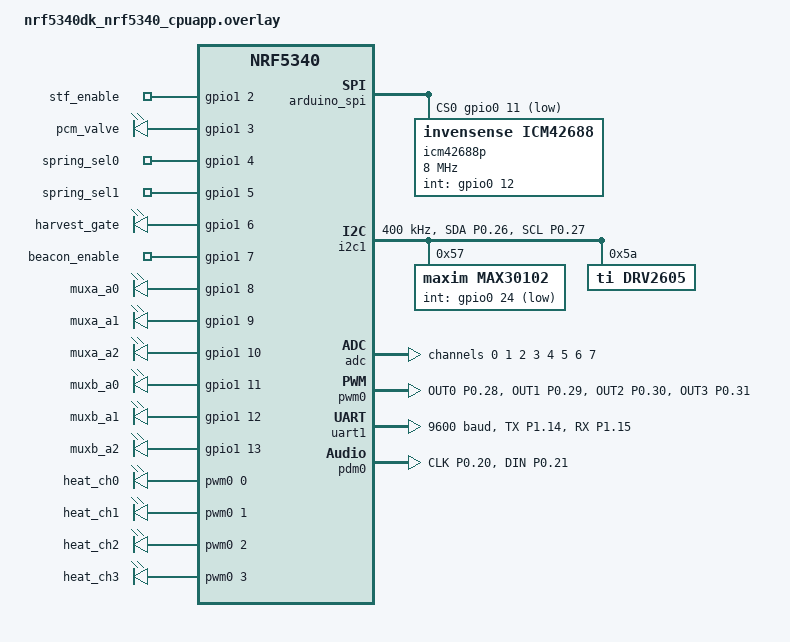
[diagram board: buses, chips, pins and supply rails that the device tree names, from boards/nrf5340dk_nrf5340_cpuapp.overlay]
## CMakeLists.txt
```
cmake_minimum_required(VERSION 3.20.0)
find_package(Zephyr REQUIRED HINTS $ENV{ZEPHYR_BASE})
project(omni_fw VERSION 1 0 0)

target_sources(app PRIVATE
    src/main.c
    src/omni_service.c
    src/mux.c
    src/imu.c
    src/pressure.c
    src/heating.c
    src/spring.c
    src/harvest.c
    src/battery.c
    src/stf.c
    src/pcm.c
    src/emg.c
    src/biometric.c
    src/haptic.c
    src/gps.c
    src/mic.c
)

target_include_directories(app PRIVATE src)
```

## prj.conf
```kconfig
# ── Stack / heap ──────────────────────────────────────────────────────────────
CONFIG_MAIN_STACK_SIZE=8192
CONFIG_SYSTEM_WORKQUEUE_STACK_SIZE=4096
CONFIG_HEAP_MEM_POOL_SIZE=32768

# ── Console / logging ─────────────────────────────────────────────────────────
CONFIG_PRINTK=y
CONFIG_SERIAL=y
CONFIG_CONSOLE=y
CONFIG_UART_CONSOLE=y
CONFIG_LOG=y
CONFIG_LOG_MODE_DEFERRED=y
CONFIG_LOG_BUFFER_SIZE=8192
CONFIG_CBPRINTF_FP_SUPPORT=y

# ── Bluetooth ─────────────────────────────────────────────────────────────────
CONFIG_BT=y
CONFIG_BT_PERIPHERAL=y
CONFIG_BT_MAX_CONN=1
CONFIG_BT_DEVICE_NAME="OMNI_V1"
CONFIG_BT_DEVICE_APPEARANCE=962
CONFIG_BT_SMP=y
CONFIG_BT_GATT_DYNAMIC_DB=n
CONFIG_BT_ATT_PREPARE_COUNT=2
CONFIG_BT_L2CAP_TX_MTU=247
CONFIG_BT_BUF_ACL_RX_SIZE=251
CONFIG_BT_CTLR_DATA_LENGTH_MAX=251
CONFIG_BT_GATT_CLIENT=n
CONFIG_BT_GATT_AUTO_SEC_REQ=n

# ── Drivers ───────────────────────────────────────────────────────────────────
CONFIG_SPI=y
CONFIG_I2C=y
CONFIG_GPIO=y
CONFIG_ADC=y
CONFIG_PWM=y
CONFIG_UART_ASYNC_API=y
CONFIG_SENSOR=y
CONFIG_ICM42688=y

# ── Haptics ───────────────────────────────────────────────────────────────────
CONFIG_HAPTICS=y
CONFIG_DRV2605=y

# ── PDM microphone ────────────────────────────────────────────────────────────
CONFIG_AUDIO_DMIC=y
CONFIG_AUDIO_DMIC_NRFX_PDM=y

# ── Floating point (atof for NMEA) ────────────────────────────────────────────
CONFIG_FPU=y
CONFIG_FPU_SHARING=y

# ── OTA DFU via MCUboot ───────────────────────────────────────────────────────
CONFIG_BOOTLOADER_MCUBOOT=y
CONFIG_MCUMGR=y
CONFIG_MCUMGR_TRANSPORT_BT=y
CONFIG_IMG_MANAGER=y
CONFIG_FLASH=y
CONFIG_FLASH_MAP=y
CONFIG_STREAM_FLASH=y
CONFIG_NCS_SAMPLE_MCUMGR_BT_OTA_DFU=y
```

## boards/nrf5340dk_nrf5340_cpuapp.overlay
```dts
/ {
    chosen {
        zephyr,console    = &uart0;
        zephyr,shell-uart = &uart0;
    };

    omni_outputs {
        compatible = "gpio-leds";

        stf_enable:    stf_enable    { gpios = <&gpio1 2  GPIO_ACTIVE_HIGH>; };
        pcm_valve:     pcm_valve     { gpios = <&gpio1 3  GPIO_ACTIVE_HIGH>; };
        spring_sel0:   spring_sel0   { gpios = <&gpio1 4  GPIO_ACTIVE_HIGH>; };
        spring_sel1:   spring_sel1   { gpios = <&gpio1 5  GPIO_ACTIVE_HIGH>; };
        harvest_gate:  harvest_gate  { gpios = <&gpio1 6  GPIO_ACTIVE_HIGH>; };
        beacon_enable: beacon_enable { gpios = <&gpio1 7  GPIO_ACTIVE_HIGH>; };

        muxa_a0: muxa_a0 { gpios = <&gpio1 8  GPIO_ACTIVE_HIGH>; };
        muxa_a1: muxa_a1 { gpios = <&gpio1 9  GPIO_ACTIVE_HIGH>; };
        muxa_a2: muxa_a2 { gpios = <&gpio1 10 GPIO_ACTIVE_HIGH>; };

        muxb_a0: muxb_a0 { gpios = <&gpio1 11 GPIO_ACTIVE_HIGH>; };
        muxb_a1: muxb_a1 { gpios = <&gpio1 12 GPIO_ACTIVE_HIGH>; };
        muxb_a2: muxb_a2 { gpios = <&gpio1 13 GPIO_ACTIVE_HIGH>; };
    };

    omni_heat_pwm {
        compatible = "pwm-leds";
        heat_ch0: heat_ch0 { pwms = <&pwm0 0 PWM_HZ(5000) PWM_POLARITY_NORMAL>; };
        heat_ch1: heat_ch1 { pwms = <&pwm0 1 PWM_HZ(5000) PWM_POLARITY_NORMAL>; };
        heat_ch2: heat_ch2 { pwms = <&pwm0 2 PWM_HZ(5000) PWM_POLARITY_NORMAL>; };
        heat_ch3: heat_ch3 { pwms = <&pwm0 3 PWM_HZ(5000) PWM_POLARITY_NORMAL>; };
    };
};

&arduino_spi {
    status   = "okay";
    cs-gpios = <&gpio0 11 GPIO_ACTIVE_LOW>;

    icm42688p: icm42688p@0 {
        compatible        = "invensense,icm42688";
        reg               = <0>;
        spi-max-frequency = <8000000>;
        int-gpios         = <&gpio0 12 GPIO_ACTIVE_HIGH>;
    };
};

&i2c1 {
    compatible      = "nordic,nrf-twim";
    status          = "okay";
    pinctrl-0       = <&i2c1_default>;
    pinctrl-1       = <&i2c1_sleep>;
    pinctrl-names   = "default", "sleep";
    clock-frequency = <I2C_BITRATE_FAST>;

    max30102: max30102@57 {
        compatible = "maxim,max30102";
        reg        = <0x57>;
        int-gpios  = <&gpio0 24 GPIO_ACTIVE_LOW>;
    };

    drv2605: drv2605@5a {
        compatible    = "ti,drv2605";
        reg           = <0x5a>;
        actuator-mode = "ERM";
    };
};

&adc {
    status         = "okay";
    #address-cells = <1>;
    #size-cells    = <0>;

    channel@0 {
        reg                      = <0>;
        zephyr,gain              = "ADC_GAIN_1_6";
        zephyr,reference         = "ADC_REF_INTERNAL";
        zephyr,acquisition-time  = <ADC_ACQ_TIME_DEFAULT>;
        zephyr,input-positive    = <NRF_SAADC_AIN0>;
        zephyr,resolution        = <12>;
    };
    channel@1 {
        reg                      = <1>;
        zephyr,gain              = "ADC_GAIN_1_6";
        zephyr,reference         = "ADC_REF_INTERNAL";
        zephyr,acquisition-time  = <ADC_ACQ_TIME_DEFAULT>;
        zephyr,input-positive    = <NRF_SAADC_AIN1>;
        zephyr,resolution        = <12>;
    };
    channel@2 {
        reg                      = <2>;
        zephyr,gain              = "ADC_GAIN_1_6";
        zephyr,reference         = "ADC_REF_INTERNAL";
        zephyr,acquisition-time  = <ADC_ACQ_TIME_DEFAULT>;
        zephyr,input-positive    = <NRF_SAADC_AIN2>;
        zephyr,resolution        = <12>;
    };
    channel@3 {
        reg                      = <3>;
        zephyr,gain              = "ADC_GAIN_1_6";
        zephyr,reference         = "ADC_REF_INTERNAL";
        zephyr,acquisition-time  = <ADC_ACQ_TIME_DEFAULT>;
        zephyr,input-positive    = <NRF_SAADC_AIN3>;
        zephyr,resolution        = <12>;
    };
    channel@4 {
        reg                      = <4>;
        zephyr,gain              = "ADC_GAIN_1_6";
        zephyr,reference         = "ADC_REF_INTERNAL";
        zephyr,acquisition-time  = <ADC_ACQ_TIME_DEFAULT>;
        zephyr,input-positive    = <NRF_SAADC_AIN4>;
        zephyr,resolution        = <12>;
    };
    channel@5 {
        reg                      = <5>;
        zephyr,gain              = "ADC_GAIN_1_6";
        zephyr,reference         = "ADC_REF_INTERNAL";
        zephyr,acquisition-time  = <ADC_ACQ_TIME_DEFAULT>;
        zephyr,input-positive    = <NRF_SAADC_AIN5>;
        zephyr,resolution        = <12>;
    };
    channel@6 {
        reg                      = <6>;
        zephyr,gain              = "ADC_GAIN_1_6";
        zephyr,reference         = "ADC_REF_INTERNAL";
        zephyr,acquisition-time  = <ADC_ACQ_TIME_DEFAULT>;
        zephyr,input-positive    = <NRF_SAADC_AIN6>;
        zephyr,resolution        = <12>;
    };
    channel@7 {
        reg                      = <7>;
        zephyr,gain              = "ADC_GAIN_1_6";
        zephyr,reference         = "ADC_REF_INTERNAL";
        zephyr,acquisition-time  = <ADC_ACQ_TIME_DEFAULT>;
        zephyr,input-positive    = <NRF_SAADC_AIN7>;
        zephyr,resolution        = <12>;
    };
};

&pwm0 {
    status        = "okay";
    pinctrl-0     = <&pwm0_custom>;
    pinctrl-names = "default";
};

&uart1 {
    status        = "okay";
    current-speed = <9600>;
    pinctrl-0     = <&uart1_default>;
    pinctrl-names = "default";
};

&pdm0 {
    status        = "okay";
    pinctrl-0     = <&pdm0_default>;
    pinctrl-names = "default";
};

&pinctrl {
    pwm0_custom: pwm0_custom {
        group1 {
            psels = <NRF_PSEL(PWM_OUT0, 0, 28)>,
                    <NRF_PSEL(PWM_OUT1, 0, 29)>,
                    <NRF_PSEL(PWM_OUT2, 0, 30)>,
                    <NRF_PSEL(PWM_OUT3, 0, 31)>;
        };
    };

    i2c1_default: i2c1_default {
        group1 {
            psels = <NRF_PSEL(TWIM_SDA, 0, 26)>,
                    <NRF_PSEL(TWIM_SCL, 0, 27)>;
            bias-pull-up;
        };
    };
    i2c1_sleep: i2c1_sleep {
        group1 {
            psels = <NRF_PSEL(TWIM_SDA, 0, 26)>,
                    <NRF_PSEL(TWIM_SCL, 0, 27)>;
            low-power-enable;
        };
    };

    uart1_default: uart1_default {
        group1 {
            psels = <NRF_PSEL(UART_TX, 1, 14)>,
                    <NRF_PSEL(UART_RX, 1, 15)>;
        };
    };

    pdm0_default: pdm0_default {
        group1 {
            psels = <NRF_PSEL(PDM_CLK, 0, 20)>,
                    <NRF_PSEL(PDM_DIN, 0, 21)>;
        };
    };
};
```

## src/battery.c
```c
#include <zephyr/drivers/adc.h>
#include <zephyr/sys/printk.h>
#include "battery.h"
#include "mux.h"

#define ADC_VREF_MV     600
#define ADC_GAIN_FACTOR 6
#define ADC_FULL_SCALE  4095
#define BATT_VDIV_R1    100000U
#define BATT_VDIV_R2    100000U
#define BATT_VMAX_MV    4200U
#define BATT_VMIN_MV    3000U

static const struct device *adc_dev;

static const struct adc_channel_cfg mux_a_cfg = {
    .gain             = ADC_GAIN_1_6,
    .reference        = ADC_REF_INTERNAL,
    .acquisition_time = ADC_ACQ_TIME_DEFAULT,
    .channel_id       = MUX_A_ADC_CH,
    .input_positive   = NRF_SAADC_AIN0,
};

int battery_init(void)
{
    adc_dev = DEVICE_DT_GET(DT_NODELABEL(adc));
    if (!device_is_ready(adc_dev)) {
        return -ENODEV;
    }
    if (adc_channel_setup(adc_dev, &mux_a_cfg)) {
        return -EIO;
    }
    printk("[BATT] Li-ion monitor via MUX_A ch2 ready\n");
    return 0;
}

int battery_read(struct battery_data *out)
{
    mux_select(MUX_A, MUXA_BATTERY);

    int16_t sample = 0;
    struct adc_sequence seq = {
        .channels    = BIT(MUX_A_ADC_CH),
        .resolution  = 12,
        .buffer      = &sample,
        .buffer_size = sizeof(sample),
    };

    int err = adc_read(adc_dev, &seq);
    mux_release(MUX_A);

    if (err) {
        return -EIO;
    }

    int32_t  vref_mv  = ADC_VREF_MV * ADC_GAIN_FACTOR;
    uint32_t vadc_mv  = (uint32_t)(((int32_t)sample * vref_mv) / ADC_FULL_SCALE);
    uint32_t vbatt_mv = vadc_mv * (BATT_VDIV_R1 + BATT_VDIV_R2) / BATT_VDIV_R2;

    out->voltage_mv = vbatt_mv;

    if (vbatt_mv >= BATT_VMAX_MV) {
        out->soc_pct = 100U;
    } else if (vbatt_mv <= BATT_VMIN_MV) {
        out->soc_pct = 0U;
    } else {
        out->soc_pct = (uint8_t)((vbatt_mv - BATT_VMIN_MV) * 100U /
                                  (BATT_VMAX_MV - BATT_VMIN_MV));
    }

    return 0;
}
```

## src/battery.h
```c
#ifndef BATTERY_H
#define BATTERY_H

#include <stdint.h>

struct battery_data {
    uint32_t voltage_mv;
    uint8_t  soc_pct;
};

int battery_init(void);
int battery_read(struct battery_data *out);

#endif /* BATTERY_H */
```

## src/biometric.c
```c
#include <zephyr/kernel.h>
#include <zephyr/device.h>
#include <zephyr/drivers/sensor.h>
#include <zephyr/drivers/adc.h>
#include <zephyr/sys/printk.h>
#include "biometric.h"
#include "mux.h"

#define ADC_VREF_MV     600
#define ADC_GAIN_FACTOR 6
#define ADC_FULL_SCALE  4095
#define GSR_REF_R_KOHM  100

static const struct device *max30102_dev;
static const struct device *adc_dev;

static const struct adc_channel_cfg mux_a_cfg = {
    .gain             = ADC_GAIN_1_6,
    .reference        = ADC_REF_INTERNAL,
    .acquisition_time = ADC_ACQ_TIME_DEFAULT,
    .channel_id       = MUX_A_ADC_CH,
    .input_positive   = NRF_SAADC_AIN0,
};

static uint8_t ratio_to_spo2(uint8_t r_x10)
{
    if (r_x10 < 5U)  { return 100U; }
    if (r_x10 > 33U) { return 70U;  }
    return (uint8_t)(110U - (uint32_t)r_x10 * 25U / 10U);
}

int biometric_init(void)
{
    max30102_dev = DEVICE_DT_GET_ANY(maxim_max30102);
    if (!max30102_dev || !device_is_ready(max30102_dev)) {
        printk("[BIO] MAX30102 not ready\n");
        return -ENODEV;
    }

    adc_dev = DEVICE_DT_GET(DT_NODELABEL(adc));
    if (!device_is_ready(adc_dev)) {
        return -ENODEV;
    }
    if (adc_channel_setup(adc_dev, &mux_a_cfg)) {
        return -EIO;
    }

    printk("[BIO] SpO2 / HR / GSR ready\n");
    return 0;
}

int biometric_read(struct biometric_data *out)
{
    struct sensor_value red_val, ir_val;

    int err = sensor_sample_fetch(max30102_dev);
    if (err) {
        out->valid = false;
        return err;
    }

    sensor_channel_get(max30102_dev, SENSOR_CHAN_RED, &red_val);
    sensor_channel_get(max30102_dev, SENSOR_CHAN_IR,  &ir_val);

    uint32_t red    = (uint32_t)red_val.val1;
    uint32_t ir     = MAX((uint32_t)ir_val.val1, 1U);
    uint8_t  r_x10  = (uint8_t)CLAMP((red * 10U) / ir, 0U, 40U);

    out->spo2_pct           = ratio_to_spo2(r_x10);
    out->heart_rate_bpm     = 0U;
    out->collar_temp_c_x100 = 3700;

    mux_select(MUX_A, MUXA_GSR);

    int16_t sample = 0;
    struct adc_sequence seq = {
        .channels    = BIT(MUX_A_ADC_CH),
        .resolution  = 12,
        .buffer      = &sample,
        .buffer_size = sizeof(sample),
    };

    err = adc_read(adc_dev, &seq);
    mux_release(MUX_A);

    if (err == 0) {
        int32_t vref_mv = ADC_VREF_MV * ADC_GAIN_FACTOR;
        int32_t v_mv    = ((int32_t)sample * vref_mv) / ADC_FULL_SCALE;
        if (v_mv > 0 && v_mv < vref_mv) {
            int32_t r_kohm = (GSR_REF_R_KOHM * v_mv) / (vref_mv - v_mv);
            out->gsr_kohm  = (uint16_t)CLAMP(r_kohm, 0, 65535);
        } else {
            out->gsr_kohm = 0U;
        }
    }

    out->valid = true;
    return 0;
}
```

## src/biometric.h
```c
#ifndef BIOMETRIC_H
#define BIOMETRIC_H

#include <stdint.h>
#include <stdbool.h>

struct biometric_data {
    uint8_t  spo2_pct;
    uint8_t  heart_rate_bpm;
    int16_t  collar_temp_c_x100;
    uint16_t gsr_kohm;
    bool     valid;
};

int biometric_init(void);
int biometric_read(struct biometric_data *out);

#endif /* BIOMETRIC_H */
```

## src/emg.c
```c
#include <zephyr/drivers/adc.h>
#include <zephyr/sys/printk.h>
#include "emg.h"
#include "mux.h"

#define ADC_VREF_MV     600
#define ADC_GAIN_FACTOR 6
#define ADC_FULL_SCALE  4095
#define INA_GAIN        100

static const struct device *adc_dev;

static const struct adc_channel_cfg mux_b_cfg = {
    .gain             = ADC_GAIN_1_6,
    .reference        = ADC_REF_INTERNAL,
    .acquisition_time = ADC_ACQ_TIME_DEFAULT,
    .channel_id       = MUX_B_ADC_CH,
    .input_positive   = NRF_SAADC_AIN1,
};

int emg_init(void)
{
    adc_dev = DEVICE_DT_GET(DT_NODELABEL(adc));
    if (!device_is_ready(adc_dev)) {
        return -ENODEV;
    }
    if (adc_channel_setup(adc_dev, &mux_b_cfg)) {
        return -EIO;
    }
    printk("[EMG] 4-site muscle monitoring via MUX_B ready\n");
    return 0;
}

int emg_read(struct emg_data *out)
{
    int16_t sample = 0;
    struct adc_sequence seq = {
        .channels    = BIT(MUX_B_ADC_CH),
        .resolution  = 12,
        .buffer      = &sample,
        .buffer_size = sizeof(sample),
    };

    for (int i = 0; i < EMG_NUM_SITES; i++) {
        sample = 0;
        mux_select(MUX_B, (uint8_t)i);
        int err = adc_read(adc_dev, &seq);
        mux_release(MUX_B);

        if (err) {
            out->valid = false;
            return -EIO;
        }

        int32_t vref_mv = ADC_VREF_MV * ADC_GAIN_FACTOR;
        int32_t v_mv    = ((int32_t)sample * vref_mv) / ADC_FULL_SCALE;
        out->mv[i]      = (int16_t)(v_mv / INA_GAIN);
    }

    out->valid = true;
    return 0;
}
```

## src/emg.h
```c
#ifndef EMG_H
#define EMG_H

#include <stdint.h>
#include <stdbool.h>

#define EMG_NUM_SITES 4

struct emg_data {
    int16_t mv[EMG_NUM_SITES];
    bool    valid;
};

int emg_init(void);
int emg_read(struct emg_data *out);

#endif /* EMG_H */
```

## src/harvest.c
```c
#include <zephyr/drivers/adc.h>
#include <zephyr/drivers/gpio.h>
#include <zephyr/sys/printk.h>
#include "harvest.h"
#include "mux.h"

#define ADC_VREF_MV      600
#define ADC_GAIN_FACTOR  6
#define ADC_FULL_SCALE   4095
#define HARVEST_LOAD_OHM 100U
#define HARVEST_VMIN_MV  2800U

static const struct device       *adc_dev;
static const struct gpio_dt_spec  gate_pin =
    GPIO_DT_SPEC_GET(DT_NODELABEL(harvest_gate), gpios);

static const struct adc_channel_cfg mux_a_adc_cfg = {
    .gain             = ADC_GAIN_1_6,
    .reference        = ADC_REF_INTERNAL,
    .acquisition_time = ADC_ACQ_TIME_DEFAULT,
    .channel_id       = MUX_A_ADC_CH,
    .input_positive   = NRF_SAADC_AIN0,
};

int harvest_init(void)
{
    adc_dev = DEVICE_DT_GET(DT_NODELABEL(adc));
    if (!device_is_ready(adc_dev)) {
        return -ENODEV;
    }
    if (adc_channel_setup(adc_dev, &mux_a_adc_cfg)) {
        return -EIO;
    }
    if (!gpio_is_ready_dt(&gate_pin)) {
        return -ENODEV;
    }
    gpio_pin_configure_dt(&gate_pin, GPIO_OUTPUT_INACTIVE);
    printk("[HARV] TENG + EM harvest via MUX_A ready\n");
    return 0;
}

static uint32_t read_mv_via_mux(uint8_t mux_ch)
{
    mux_select(MUX_A, mux_ch);

    int16_t sample = 0;
    struct adc_sequence seq = {
        .channels    = BIT(MUX_A_ADC_CH),
        .resolution  = 12,
        .buffer      = &sample,
        .buffer_size = sizeof(sample),
    };

    adc_read(adc_dev, &seq);
    mux_release(MUX_A);

    int32_t vref_mv = ADC_VREF_MV * ADC_GAIN_FACTOR;
    int32_t v       = ((int32_t)sample * vref_mv) / ADC_FULL_SCALE;
    return (uint32_t)MAX(v, 0);
}

static uint32_t mv_to_power_mw_x10(uint32_t v_mv)
{
    uint32_t i_ua  = (v_mv * 1000U) / HARVEST_LOAD_OHM;
    uint32_t p_uw  = (v_mv * i_ua)  / 1000U;
    return p_uw / 100U;
}

int harvest_read(struct harvest_data *out)
{
    out->teng_voltage_mv   = read_mv_via_mux(MUXA_TENG);
    out->teng_power_mw_x10 = mv_to_power_mw_x10(out->teng_voltage_mv);

    out->em_voltage_mv   = read_mv_via_mux(MUXA_EM_GEN);
    out->em_power_mw_x10 = mv_to_power_mw_x10(out->em_voltage_mv);

    bool should_open = (out->teng_voltage_mv >= HARVEST_VMIN_MV ||
                        out->em_voltage_mv   >= HARVEST_VMIN_MV);
    harvest_set_gate(should_open);
    out->gate_open = should_open;
    return 0;
}

void harvest_set_gate(bool open)
{
    gpio_pin_set_dt(&gate_pin, open ? 1 : 0);
}
```

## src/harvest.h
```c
#ifndef HARVEST_H
#define HARVEST_H

#include <stdint.h>
#include <stdbool.h>

struct harvest_data {
    uint32_t teng_voltage_mv;
    uint32_t teng_power_mw_x10;
    uint32_t em_voltage_mv;
    uint32_t em_power_mw_x10;
    bool     gate_open;
};

int  harvest_init(void);
int  harvest_read(struct harvest_data *out);
void harvest_set_gate(bool open);

#endif /* HARVEST_H */
```

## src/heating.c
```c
#include <zephyr/drivers/adc.h>
#include <zephyr/drivers/pwm.h>
#include <zephyr/sys/printk.h>
#include "heating.h"

#define ADC_VREF_MV     600
#define ADC_GAIN_FACTOR 6
#define ADC_FULL_SCALE  4095
#define NTC_REF_R       10000
#define PID_KP_X100     120
#define PID_KI_X100      10
#define PID_KD_X100       5

static const struct device *adc_dev;
static const struct device *pwm_dev;
static int32_t pid_integral[4];
static int32_t pid_prev_err[4];

static const int32_t NTC_LUT_R[16] = {
    32650, 25390, 19900, 15710, 12490, 10000, 8057, 6531,
     5327,  4369,  3603,  2986,  2488,  2083, 1752, 1481
};
static const int32_t NTC_LUT_T_X100[16] = {
       0,  250,  500,  750, 1000, 1250, 1500, 1750,
    2000, 2250, 2500, 2750, 3000, 3250, 3500, 3750
};

static const struct adc_channel_cfg therm_cfg[4] = {
    {
        .gain             = ADC_GAIN_1_6,
        .reference        = ADC_REF_INTERNAL,
        .acquisition_time = ADC_ACQ_TIME_DEFAULT,
        .channel_id       = 4,
        .input_positive   = NRF_SAADC_AIN4,
    },
    {
        .gain             = ADC_GAIN_1_6,
        .reference        = ADC_REF_INTERNAL,
        .acquisition_time = ADC_ACQ_TIME_DEFAULT,
        .channel_id       = 5,
        .input_positive   = NRF_SAADC_AIN5,
    },
    {
        .gain             = ADC_GAIN_1_6,
        .reference        = ADC_REF_INTERNAL,
        .acquisition_time = ADC_ACQ_TIME_DEFAULT,
        .channel_id       = 6,
        .input_positive   = NRF_SAADC_AIN6,
    },
    {
        .gain             = ADC_GAIN_1_6,
        .reference        = ADC_REF_INTERNAL,
        .acquisition_time = ADC_ACQ_TIME_DEFAULT,
        .channel_id       = 7,
        .input_positive   = NRF_SAADC_AIN7,
    },
};

static int32_t raw_to_temp_x100(int32_t raw)
{
    int32_t vref_mv = ADC_VREF_MV * ADC_GAIN_FACTOR;
    int32_t v_mv    = (raw * vref_mv) / ADC_FULL_SCALE;

    if (v_mv <= 0 || v_mv >= vref_mv) {
        return 2500;
    }

    int32_t r_ntc = (NTC_REF_R * v_mv) / (vref_mv - v_mv);

    for (int i = 0; i < 15; i++) {
        if (r_ntc <= NTC_LUT_R[i] && r_ntc > NTC_LUT_R[i + 1]) {
            int32_t r_span = NTC_LUT_R[i]          - NTC_LUT_R[i + 1];
            int32_t r_off  = NTC_LUT_R[i]          - r_ntc;
            int32_t t_span = NTC_LUT_T_X100[i + 1] - NTC_LUT_T_X100[i];
            return NTC_LUT_T_X100[i] + (r_off * t_span / r_span);
        }
    }

    return (r_ntc >= NTC_LUT_R[0]) ? NTC_LUT_T_X100[0] : NTC_LUT_T_X100[15];
}

static uint8_t pid_compute(int z, int32_t sp_x100, int32_t pv_x100)
{
    int32_t err       = sp_x100 - pv_x100;
    pid_integral[z]  += err;
    pid_integral[z]   = CLAMP(pid_integral[z], -10000, 10000);
    int32_t deriv     = err - pid_prev_err[z];
    pid_prev_err[z]   = err;
    int32_t out = (PID_KP_X100 * err +
                   PID_KI_X100 * pid_integral[z] +
                   PID_KD_X100 * deriv) / 100;
    return (uint8_t)CLAMP(out, 0, 100);
}

int heating_init(void)
{
    adc_dev = DEVICE_DT_GET(DT_NODELABEL(adc));
    if (!device_is_ready(adc_dev)) {
        return -ENODEV;
    }

    pwm_dev = DEVICE_DT_GET(DT_NODELABEL(pwm0));
    if (!device_is_ready(pwm_dev)) {
        return -ENODEV;
    }

    for (int z = 0; z < 4; z++) {
        if (adc_channel_setup(adc_dev, &therm_cfg[z])) {
            return -EIO;
        }
        pid_integral[z] = 0;
        pid_prev_err[z] = 0;
        pwm_set(pwm_dev, z, PWM_HZ(5000), 0U, PWM_POLARITY_NORMAL);
    }

    printk("[HEAT] 4-zone heating ready\n");
    return 0;
}

int heating_update(const uint8_t targets_c[4], struct heating_state *state)
{
    int16_t sample = 0;
    struct adc_sequence seq = {
        .resolution  = 12,
        .buffer      = &sample,
        .buffer_size = sizeof(sample),
    };

    for (int z = 0; z < 4; z++) {
        sample       = 0;
        seq.channels = BIT(4 + z);

        if (adc_read(adc_dev, &seq)) {
            state->duty_pct[z] = 0U;
            pwm_set(pwm_dev, z, PWM_HZ(5000), 0U, PWM_POLARITY_NORMAL);
            continue;
        }

        state->temp_c_x100[z] = raw_to_temp_x100((int32_t)sample);

        uint8_t target_capped = MIN(targets_c[z], HEAT_TEMP_MAX);
        uint8_t duty = pid_compute(z,
                                   (int32_t)target_capped * 100,
                                   state->temp_c_x100[z]);
        state->duty_pct[z] = duty;

        uint32_t period = PWM_HZ(5000);
        uint32_t pulse  = (period / 100U) * (uint32_t)duty;
        pwm_set(pwm_dev, z, period, pulse, PWM_POLARITY_NORMAL);
    }

    return 0;
}
```

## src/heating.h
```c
#ifndef HEATING_H
#define HEATING_H

#include <stdint.h>

#define HEAT_NUM_ZONES 4
#define HEAT_TEMP_MAX  45U

struct heating_state {
    int32_t temp_c_x100[HEAT_NUM_ZONES];
    uint8_t duty_pct[HEAT_NUM_ZONES];
};

int heating_init(void);
int heating_update(const uint8_t targets_c[HEAT_NUM_ZONES],
                   struct heating_state *state);

#endif /* HEATING_H */
```

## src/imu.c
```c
#include <zephyr/kernel.h>
#include <zephyr/device.h>
#include <zephyr/drivers/sensor.h>
#include <zephyr/sys/printk.h>
#include "imu.h"

static const struct device *imu_dev;

int imu_init(void)
{
    imu_dev = DEVICE_DT_GET_ANY(invensense_icm42688);
    if (!imu_dev || !device_is_ready(imu_dev)) {
        printk("[IMU] ICM-42688-P not ready\n");
        return -ENODEV;
    }
    printk("[IMU] ICM-42688-P ready\n");
    return 0;
}

int imu_read(struct imu_data *out)
{
    struct sensor_value a[3], g[3];

    if (!imu_dev) {
        out->valid = false;
        return -ENODEV;
    }

    int err = sensor_sample_fetch(imu_dev);
    if (err) {
        out->valid = false;
        return err;
    }

    sensor_channel_get(imu_dev, SENSOR_CHAN_ACCEL_XYZ, a);
    sensor_channel_get(imu_dev, SENSOR_CHAN_GYRO_XYZ,  g);

    out->accel_x_mg  = (int32_t)(sensor_value_to_double(&a[0]) * 1000.0 / 9.80665);
    out->accel_y_mg  = (int32_t)(sensor_value_to_double(&a[1]) * 1000.0 / 9.80665);
    out->accel_z_mg  = (int32_t)(sensor_value_to_double(&a[2]) * 1000.0 / 9.80665);
    out->gyro_x_mdps = (int32_t)(sensor_value_to_double(&g[0]) * 57295.7796);
    out->gyro_y_mdps = (int32_t)(sensor_value_to_double(&g[1]) * 57295.7796);
    out->gyro_z_mdps = (int32_t)(sensor_value_to_double(&g[2]) * 57295.7796);
    out->valid       = true;
    return 0;
}
```

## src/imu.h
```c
#ifndef IMU_H
#define IMU_H

#include <stdint.h>
#include <stdbool.h>

struct imu_data {
    int32_t accel_x_mg;
    int32_t accel_y_mg;
    int32_t accel_z_mg;
    int32_t gyro_x_mdps;
    int32_t gyro_y_mdps;
    int32_t gyro_z_mdps;
    bool    valid;
};

int imu_init(void);
int imu_read(struct imu_data *out);

#endif /* IMU_H */
```
